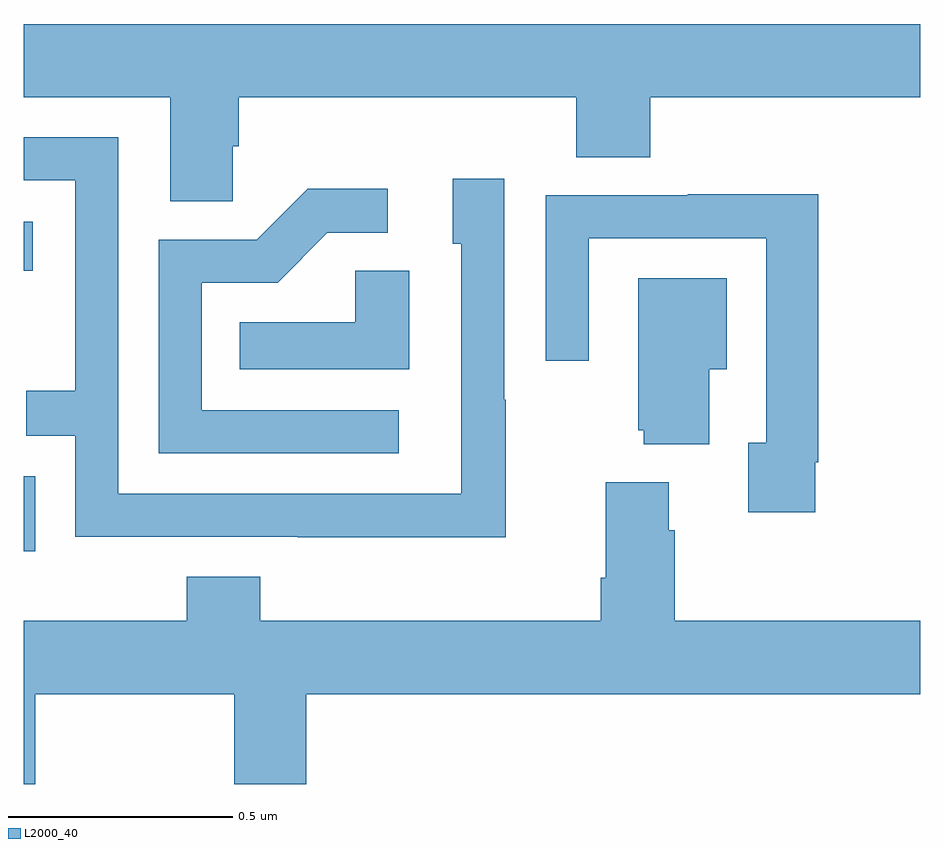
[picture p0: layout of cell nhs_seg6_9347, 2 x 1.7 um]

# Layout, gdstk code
import gdstk
lib = gdstk.Library(unit=1e-6, precision=1e-09)
def R(c, l, rs):  # rectangles x0, y0, x1, y1
    for r in rs: c.add(gdstk.rectangle(r[:2], r[2:], *l))
def P(c, l, *ps):  # polygons
    for p in ps: c.add(gdstk.Polygon(p, *l))
L2000_40 = (2000, 40)

nhs_seg6_9347 = lib.new_cell('nhs_seg6_9347')
R(nhs_seg6_9347, L2000_40, [(233,917.019,233.025,917.187), (233,917.645,233.02,917.755)])
P(nhs_seg6_9347, L2000_40, [(233.466,917.923),(233.48,917.923),(233.48,918.032),(234.233,918.032),(234.233,917.899),(234.398,917.899),(234.398,918.032),(235,918.032),(235,918.196),(233,918.196),(233,918.032),(233.327,918.032),(233.327,917.8),(233.466,917.8)],
  [(234.075,917.357),(234.072,917.357),(234.072,917.851),(233.957,917.851),(233.957,917.706),(233.976,917.706),(233.976,917.148),(233.211,917.148),(233.211,917.943),(233,917.943),(233,917.847),(233.115,917.847),(233.115,917.378),(233.005,917.378),(233.005,917.277),(233.115,917.277),(233.115,917.052),(233.611,917.052),(233.611,917.051),(234.075,917.051)],
  [(233.836,917.334),(233.397,917.334),(233.397,917.619),(233.566,917.619),(233.677,917.73),(233.812,917.73),(233.812,917.828),(233.633,917.828),(233.52,917.715),(233.301,917.715),(233.301,917.238),(233.836,917.238)],
  [(234.766,917.218),(234.773,917.218),(234.773,917.816),(234.481,917.816),(234.481,917.814),(234.165,917.814),(234.165,917.445),(234.261,917.445),(234.261,917.718),(234.657,917.718),(234.657,917.262),(234.617,917.262),(234.617,917.106),(234.766,917.106)],
  [(233.86,917.645),(233.739,917.645),(233.739,917.53),(233.482,917.53),(233.482,917.426),(233.86,917.426)],
  [(234.529,917.426),(234.568,917.426),(234.568,917.629),(234.371,917.629),(234.371,917.289),(234.383,917.289),(234.383,917.258),(234.529,917.258)],
  [(233.025,916.7),(233.47,916.7),(233.47,916.5),(233.63,916.5),(233.63,916.7),(235,916.7),(235,916.864),(234.452,916.864),(234.452,917.066),(234.439,917.066),(234.439,917.173),(234.299,917.173),(234.299,916.96),(234.287,916.96),(234.287,916.864),(233.528,916.864),(233.528,916.963),(233.363,916.963),(233.363,916.864),(233,916.864),(233,916.5),(233.025,916.5)])

lib.write_gds('nhs_seg6_9347.gds')
